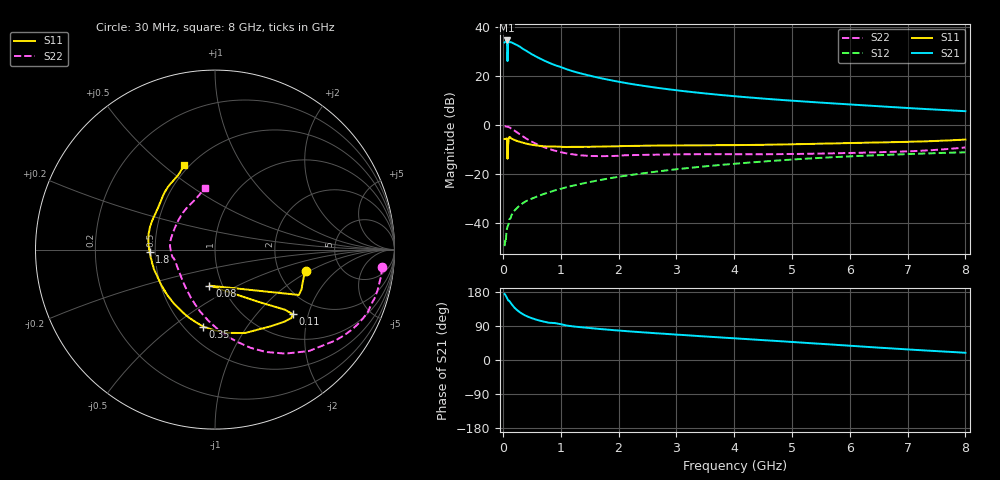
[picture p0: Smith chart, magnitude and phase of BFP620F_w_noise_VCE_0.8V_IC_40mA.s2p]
! Infineon Technologies  Discrete & RF Semiconductors
! BFP620F
! VCE =  0.8 V,  IC =  40 mA
! Common Emitter S-Parameters:  Dec 2014
# GHz  S  MA  R  50
!  f  S11  S21  S12  S22
! GHz  MAG  ANG  MAG  ANG  MAG  ANG  MAG  ANG
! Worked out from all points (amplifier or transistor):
!   95 points, 30 MHz to 8 GHz, reference 50 ohm
!   highest |S21| = 34.7 dB at 70 MHz (marker M1)
!   |S21| within 3 dB of that: 87.73 MHz to 320.9 MHz (233.2 MHz wide, 114 % of centre) (the widest 1 of 2)
!   unconditionally stable (mu >= 1): 2.096 GHz to end of sweep
!   at 300 MHz: K = 0.44, MSG = 32.4 dB, |S12| = -32.8 dB
!   at 3.3 GHz: K = 1.03, MAG = 14.4 dB, |S12| = -17.4 dB
!   at 8 GHz: K = 1.06, MAG = 7.0 dB, |S12| = -11.2 dB
!   lowest NFmin = 1.36 dB at 450 MHz
!   S11 on the Smith chart (normalised r, x): 30 MHz: 2.83, -0.90; 80 MHz: 0.87, -0.36; 110 MHz: 1.52, -1.60; 350 MHz: 0.62, -0.65; 1.8 GHz: 0.47, -0.02; 8 GHz: 0.47, +0.59
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0.03  0.5183 -13.0  49.27 174.3  0.0033 97.5  0.9355 -6.0
0.06  0.5305 -24.7  53.54 167.2  0.0061 85.4  0.9336 -14.1
0.07  0.5314 -28.4  54.06 164.3  0.0075 79.2  0.9295 -17.0
0.08  0.2032 -98.7  20.46 160.9  0.0082 76.7  0.9229 -19.0
0.09  0.3834 -49.8  45.99 157.7  0.0088 85.5  0.9199 -22.2
0.1  0.5133 -40.7  51.37 156.8  0.0096 77.1  0.91 -24.8
0.11  0.5632 -39.7  50.98 155.7  0.0116 77.2  0.8972 -27.6
0.15  0.5278 -54.0  49.33 147.6  0.0143 72.8  0.8408 -37.0
0.2  0.4938 -70.3  46 138.1  0.0176 69.1  0.7703 -47.2
0.25  0.4697 -81.0  43.16 131.1  0.0202 65.8  0.6997 -55.9
0.35  0.434 -98.7  36.2 120.4  0.0253 62.4  0.5819 -70.1
0.5  0.3931 -117.2  28.28 110.3  0.0311 61.4  0.4566 -86.4
0.7  0.3682 -135.0  21.3 101.5  0.0385 61.3  0.3562 -103.2
0.9  0.3627 -139.9  16.86 97.4  0.0459 62.1  0.298 -117.1
1.1  0.3546 -157.1  13.94 91.1  0.0532 62.2  0.2632 -129.6
1.4  0.3585 -167.8  11 85.8  0.0642 62.4  0.237 -145.6
1.8  0.3647 -177.7  8.586 80.3  0.0792 61.7  0.2313 -162.3
2.7  0.3802 166.1  5.729 70.1  0.113 57.5  0.2476 179.6
4.1  0.3891 147.8  3.811 56.3  0.1642 48.9  0.252 163.0
5.4  0.4128 135.5  2.933 43.6  0.2094 39.2  0.2595 143.5
6.7  0.4449 123.0  2.348 30.8  0.2465 28.7  0.2818 123.0
8  0.504 110.1  1.922 19.0  0.2764 18.6  0.3476 99.3
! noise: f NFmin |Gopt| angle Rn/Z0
0.45  1.36  0.16  -173  0.16
0.9  1.38  0.16  -172  0.13
1.5  1.39  0.21  -152  0.11
1.8  1.4  0.21  -151  0.11
1.9  1.41  0.21  -150  0.11
2.4  1.43  0.21  214  0.13
3.5  1.49  0.22  220  0.17
5.5  1.63  0.27  247  0.17
6  1.67  0.28  261  0.2
